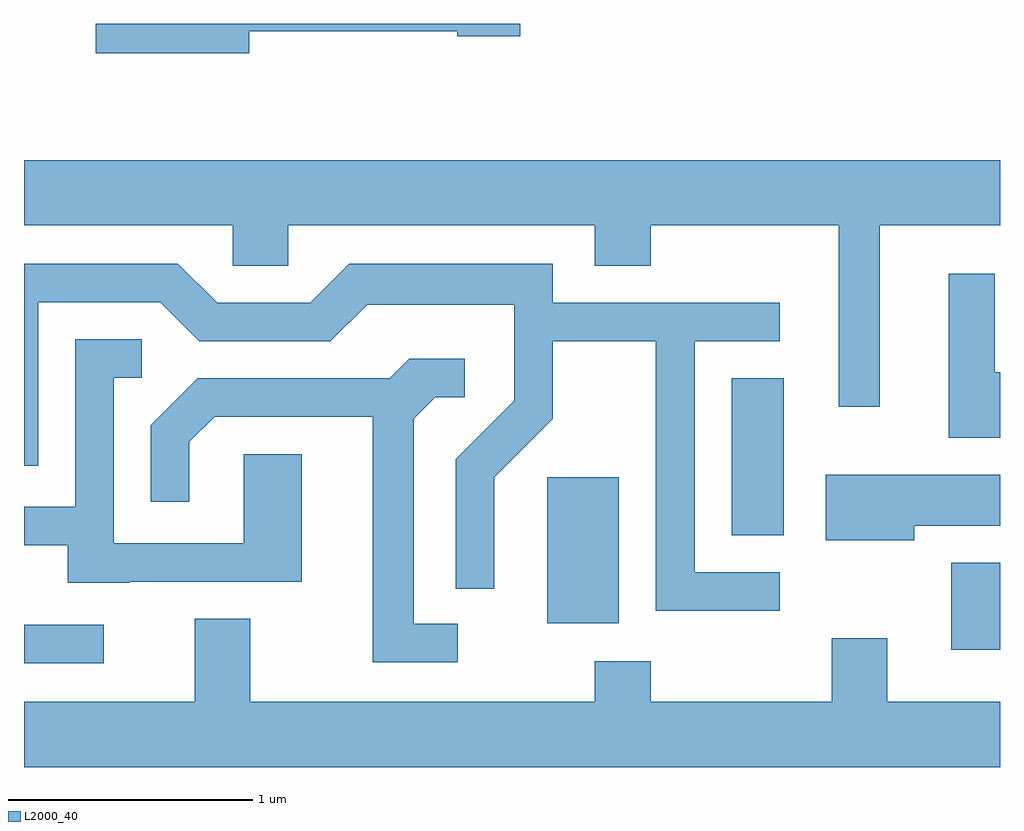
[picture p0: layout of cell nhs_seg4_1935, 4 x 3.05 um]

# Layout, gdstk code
import gdstk
lib = gdstk.Library(unit=1e-6, precision=1e-09)
def R(c, l, rs):  # rectangles x0, y0, x1, y1
    for r in rs: c.add(gdstk.rectangle(r[:2], r[2:], *l))
def P(c, l, *ps):  # polygons
    for p in ps: c.add(gdstk.Polygon(p, *l))
L2000_40 = (2000, 40)

nhs_seg4_1935 = lib.new_cell('nhs_seg4_1935')
R(nhs_seg4_1935, L2000_40, [(241.611,1317.361,241.938,1317.519), (245.411,1317.416,245.611,1317.774), (243.756,1317.526,244.049,1318.124), (244.511,1317.886,244.724,1318.529)])
P(nhs_seg4_1935, L2000_40, [(242.534,1319.951),(243.386,1319.951),(243.386,1319.931),(243.644,1319.931),(243.644,1319.982),(241.906,1319.982),(241.906,1319.861),(242.534,1319.861)],
  [(245.119,1319.156),(245.611,1319.156),(245.611,1319.424),(241.611,1319.424),(241.611,1319.156),(242.466,1319.156),(242.466,1318.991),(242.694,1318.991),(242.694,1319.156),(243.951,1319.156),(243.951,1318.991),(244.179,1318.991),(244.179,1319.156),(244.951,1319.156),(244.951,1318.413),(245.119,1318.413)],
  [(244.708,1317.734),(244.359,1317.734),(244.359,1318.681),(244.708,1318.681),(244.708,1318.839),(243.779,1318.839),(243.779,1318.999),(242.944,1318.999),(242.784,1318.839),(242.402,1318.839),(242.242,1318.999),(241.611,1318.999),(241.611,1318.171),(241.669,1318.171),(241.669,1318.841),(242.169,1318.841),(242.329,1318.681),(242.867,1318.681),(243.017,1318.831),(243.621,1318.831),(243.621,1318.437),(243.381,1318.197),(243.381,1317.668),(243.539,1317.668),(243.539,1318.124),(243.779,1318.364),(243.779,1318.681),(244.201,1318.681),(244.201,1317.576),(244.708,1317.576)],
  [(245.611,1318.554),(245.589,1318.554),(245.589,1318.959),(245.401,1318.959),(245.401,1318.286),(245.611,1318.286)],
  [(242.045,1317.696),(242.749,1317.696),(242.749,1318.219),(242.511,1318.219),(242.511,1317.854),(241.979,1317.854),(241.979,1318.531),(242.093,1318.531),(242.093,1318.689),(241.821,1318.689),(241.821,1318.004),(241.611,1318.004),(241.611,1317.846),(241.791,1317.846),(241.791,1317.691),(242.045,1317.691)],
  [(243.388,1317.524),(243.209,1317.524),(243.209,1318.364),(243.297,1318.451),(243.418,1318.451),(243.418,1318.609),(243.189,1318.609),(243.109,1318.529),(242.324,1318.529),(242.131,1318.337),(242.131,1318.023),(242.289,1318.023),(242.289,1318.269),(242.392,1318.371),(243.041,1318.371),(243.041,1317.366),(243.388,1317.366)],
  [(245.259,1317.926),(245.611,1317.926),(245.611,1318.134),(244.896,1318.134),(244.896,1317.866),(245.259,1317.866)],
  [(245.611,1317.204),(245.149,1317.204),(245.149,1317.464),(244.921,1317.464),(244.921,1317.204),(244.179,1317.204),(244.179,1317.369),(243.951,1317.369),(243.951,1317.204),(242.539,1317.204),(242.539,1317.544),(242.311,1317.544),(242.311,1317.204),(241.611,1317.204),(241.611,1316.936),(245.611,1316.936)])

lib.write_gds('nhs_seg4_1935.gds')
